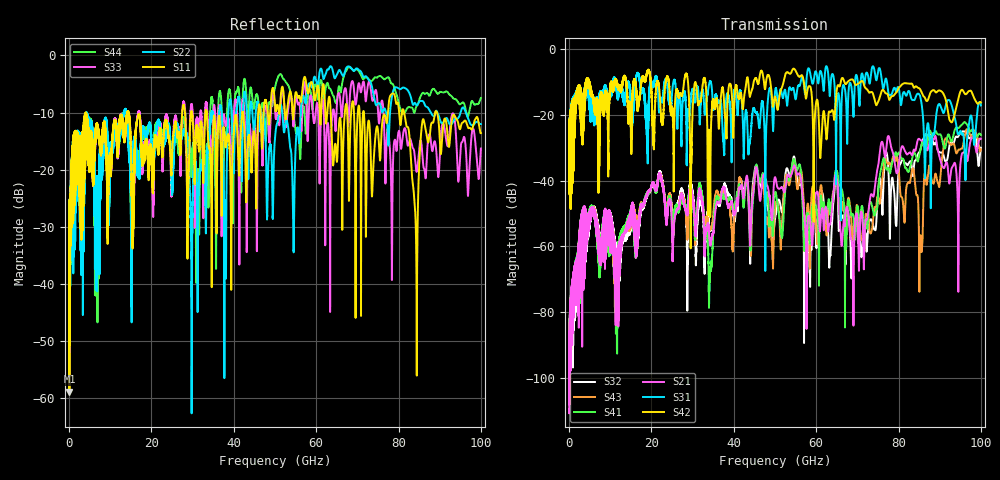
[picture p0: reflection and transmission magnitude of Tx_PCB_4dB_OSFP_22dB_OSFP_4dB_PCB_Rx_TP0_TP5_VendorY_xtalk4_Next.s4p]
! Info: Touchstone file created by Circ.  Input file=Tx_PCB_4dB_OSFP_22dB_OSFP_4dB_PCB_Rx_TP0_TP5_VendorY.circ
# Hz S RI R 50
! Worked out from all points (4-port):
!   10000 points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, 10 MHz to 100 GHz, reference 50 ohm
!   strongest paths, dB at 10 MHz, 25.01 GHz, 50.01 GHz, 75.01 GHz, 100 GHz:
!     S42: -25.1, -19.1, -14.5, -16.2, -16.2
!     S31: -25.1, -13.6, -13.0, -6.9, -17.1
!     S21: -109.4, -55.3, -38.9, -35.8, -27.3
!     S41: -94.8, -53.9, -43.7, -44.7, -26.1
!     S43: -101.6, -51.4, -48.4, -44.8, -30.5
!     S32: -97.9, -50.9, -51.7, -43.7, -30.0
!   lowest |S11| = -58.8 dB at 80 MHz (marker M1), VSWR 1.00, Z = 49.9 - j0.0847 ohm
!   |S11| at or under -10 dB: 4.04 GHz to 14.12 GHz (10.08 GHz wide, 111 % of centre); 14.45 GHz to 27.47 GHz (13.02 GHz wide, 62.1 % of centre); 89.34 GHz to end of sweep (the widest 3 of 34)
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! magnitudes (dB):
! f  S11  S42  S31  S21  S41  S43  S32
! 10 MHz  -25.4  -25.1  -25.1  -109.4  -94.8  -101.6  -97.9
! 80 MHz  -58.8  -25.1  -25.1  -93.7  -91.4  -91.4  -94.6
! 22.02 GHz  -13.6  -13.9  -17.0  -38.1  -38.4  -37.8  -37.3
! 34.28 GHz  -17.4  -51.1  -9.8  -59.7  -66.6  -54.2  -55.4
! 79.18 GHz  -7.4  -13.5  -12.0  -35.6  -31.7  -33.0  -48.9
! 85.42 GHz  -14.2  -12.6  -15.3  -27.8  -30.1  -57.8  -30.0
! 100 GHz  -13.6  -16.2  -17.1  -27.3  -26.1  -30.5  -30.0
